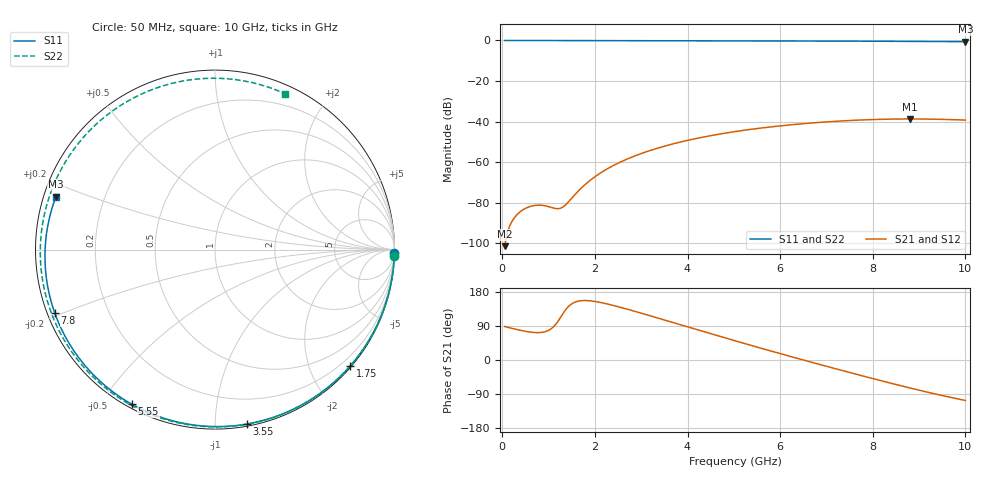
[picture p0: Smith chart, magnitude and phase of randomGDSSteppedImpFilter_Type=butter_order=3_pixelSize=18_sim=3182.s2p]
! freq	dB(S11)	phase(S11)	dB(S12)	phase(S12)
!  dB(S21)	phase(S21)	dB(S22)	phase(S22)
!S-par simulation data
#  GHz  S  DB  R 50
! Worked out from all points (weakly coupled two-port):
!   200 points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, 50 MHz to 10 GHz, reference 50 ohm
!   highest |S21| = -38.69 dB at 8.8 GHz (marker M1); lowest = -101.4 dB at 50 MHz (marker M2)
!   lowest |S11| = -0.6 dB at 10 GHz (marker M3), VSWR 29.24, Z = 1.76 + j8.1 ohm
!   |S11| at or under -10 dB: nowhere
!   |S22| runs from -0.4 to 0.0 dB; largest |S21 - S12| = 0
!   S11 on the Smith chart (normalised r, x): 50 MHz: 0, -95; 1.75 GHz: 0.02, -2.68; 3.55 GHz: 0.01, -1.20; 5.55 GHz: 0.01, -0.60; 7.8 GHz: 0.02, -0.19; 10 GHz: 0.04, +0.16
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0.05  -0.00 -1.2  -101.40 88.5  -101.40 88.5  -0.00 -2.0
0.35  -0.01 -8.3  -85.14 79.4  -85.14 79.4  -0.02 -14.2
0.65  -0.02 -15.4  -81.55 73.0  -81.55 73.0  -0.03 -26.1
1.05  -0.03 -24.8  -82.23 81.9  -82.23 81.9  -0.05 -41.7
1.4  -0.04 -32.9  -80.28 137.4  -80.28 137.4  -0.07 -54.9
1.75  -0.05 -40.9  -71.81 156.9  -71.81 156.9  -0.08 -67.6
2.05  -0.06 -47.6  -66.38 153.4  -66.38 153.4  -0.09 -78.1
2.45  -0.07 -56.4  -61.05 142.3  -61.05 142.3  -0.11 -91.4
2.9  -0.09 -66.1  -56.58 127.1  -56.58 127.1  -0.12 -105.6
3.4  -0.10 -76.6  -52.78 109.2  -52.78 109.2  -0.14 -120.5
3.55  -0.11 -79.6  -51.81 103.8  -51.81 103.8  -0.14 -124.8
4.3  -0.13 -94.6  -47.80 76.7  -47.80 76.7  -0.17 -145.3
5.05  -0.16 -109.0  -44.83 49.9  -44.83 49.9  -0.20 -164.7
5.55  -0.19 -118.2  -43.28 32.4  -43.28 32.4  -0.23 -177.2
6.1  -0.22 -128.2  -41.87 13.5  -41.87 13.5  -0.26 169.2
6.7  -0.26 -138.9  -40.64 -6.7  -40.64 -6.7  -0.29 154.3
7.25  -0.31 -148.6  -39.77 -24.8  -39.77 -24.8  -0.32 140.5
7.8  -0.35 -158.3  -39.15 -42.6  -39.15 -42.6  -0.35 126.4
8.35  -0.41 -168.0  -38.79 -60.0  -38.79 -60.0  -0.37 111.9
8.8  -0.45 -176.1  -38.69 -73.8  -38.69 -73.8  -0.39 99.7
9.4  -0.52 172.9  -38.84 -91.1  -38.84 -91.1  -0.41 83.0
10  -0.59 161.6  -39.25 -106.8  -39.25 -106.8  -0.43 65.9
